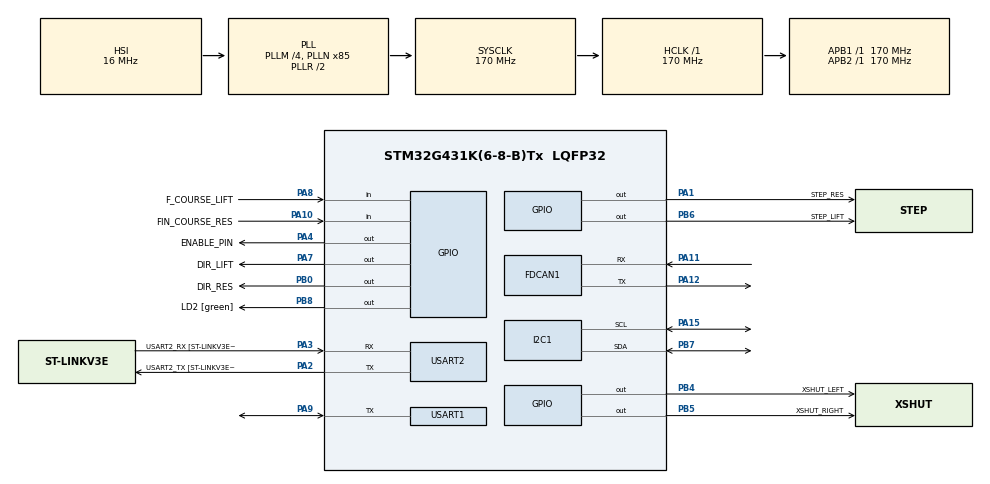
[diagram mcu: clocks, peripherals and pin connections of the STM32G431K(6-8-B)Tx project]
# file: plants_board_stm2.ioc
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FDCAN1.AutoRetransmission=ENABLE
FDCAN1.CalculateBaudRateNominal=999999
FDCAN1.CalculateTimeBitNominal=1000
FDCAN1.CalculateTimeQuantumNominal=58.82352941176471
FDCAN1.DataPrescaler=10
FDCAN1.DataTimeSeg1=14
FDCAN1.DataTimeSeg2=2
FDCAN1.NominalPrescaler=10
FDCAN1.NominalTimeSeg1=14
I2C1.Timing=0x30A0A7FB
Mcu.Family=STM32G4
Mcu.Name=STM32G431K(6-8-B)Tx
Mcu.Package=LQFP32
NVIC.FDCAN1_IT0_IRQn=true\:0\:0\:false\:false\:true\:true\:true\:true
NVIC.PriorityGroup=NVIC_PRIORITYGROUP_4
NVIC.TIM2_IRQn=true\:0\:0\:false\:false\:true\:true\:true\:true
PA1.GPIO_Label=STEP_RES
PA1.Signal=GPIO_Output
PA10.GPIO_Label=FIN_COURSE_RES
PA10.GPIO_PuPd=GPIO_PULLUP
PA10.Signal=GPIO_Input
PA11.Mode=FDCAN_Activate
PA11.Signal=FDCAN1_RX
PA12.Mode=FDCAN_Activate
PA12.Signal=FDCAN1_TX
PA13.GPIO_Label=T_SWDIO
PA13.Mode=Serial_Wire
PA13.Signal=SYS_JTMS-SWDIO
PA14.GPIO_Label=T_SWCLK
PA14.Mode=Serial_Wire
PA14.Signal=SYS_JTCK-SWCLK
PA15.Mode=I2C
PA15.Signal=I2C1_SCL
PA2.GPIO_Label=USART2_TX [ST-LINKV3E_VCP_RX]
PA2.Mode=Asynchronous
PA2.Signal=USART2_TX
PA3.GPIO_Label=USART2_RX [ST-LINKV3E_VCP_TX]
PA3.Mode=Asynchronous
PA3.Signal=USART2_RX
PA4.GPIO_Label=ENABLE_PIN
PA4.Signal=GPIO_Output
PA7.GPIO_Label=DIR_LIFT
PA7.Signal=GPIO_Output
PA8.GPIO_Label=F_COURSE_LIFT
PA8.GPIO_PuPd=GPIO_PULLUP
PA8.Signal=GPIO_Input
PA9.GPIO_Speed=GPIO_SPEED_FREQ_VERY_HIGH
PA9.Mode=Half_duplex(single_wire_mode)
PA9.Signal=USART1_TX
PB0.GPIO_Label=DIR_RES
PB0.Signal=GPIO_Output
PB3.GPIO_Label=T_SWO
PB3.Signal=SYS_JTDO-SWO
PB4.GPIO_Label=XSHUT_LEFT
PB4.Signal=GPIO_Output
PB5.GPIO_Label=XSHUT_RIGHT
PB5.Signal=GPIO_Output
PB6.GPIO_Label=STEP_LIFT
PB6.Signal=GPIO_Output
PB7.Mode=I2C
PB7.Signal=I2C1_SDA
PB8-BOOT0.GPIO_Label=LD2 [green]
PB8-BOOT0.Signal=GPIO_Output
ProjectManager.HeapSize=0x200
ProjectManager.StackSize=0x400
ProjectManager.TargetToolchain=STM32CubeIDE
RCC.ADC12Freq_Value=170000000
RCC.AHBFreq_Value=170000000
RCC.APB1Freq_Value=170000000
RCC.APB1TimFreq_Value=170000000
RCC.APB2Freq_Value=170000000
RCC.APB2TimFreq_Value=170000000
RCC.CortexFreq_Value=170000000
RCC.EXTERNAL_CLOCK_VALUE=12288000
RCC.HCLKFreq_Value=170000000
RCC.HSE_VALUE=8000000
RCC.HSI48_VALUE=48000000
RCC.HSI_VALUE=16000000
RCC.LSE_VALUE=32768
RCC.PLLM=RCC_PLLM_DIV4
RCC.PLLN=85
RCC.SYSCLKFreq_VALUE=170000000
RCC.SYSCLKSource=RCC_SYSCLKSOURCE_PLLCLK
RCC.USBFreq_Value=170000000
RCC.VCOOutputFreq_Value=340000000
TIM2.PeriodNoDither=1000000
TIM2.Prescaler=16
USART1.BaudRate=1000000
USART1.FIFOMode=FIFOMODE_ENABLE
USART1.VirtualMode-Half_duplex(single_wire_mode)=VM_ASYNC
USART2.VirtualMode-Asynchronous=VM_ASYNC
USART2.WordLength=WORDLENGTH_8B
VP_SYS_VS_DBSignals.Mode=DisableDeadBatterySignals
VP_TIM2_VS_ClockSourceINT.Mode=Internal
board=NUCLEO-G431KB

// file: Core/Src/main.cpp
/* USER CODE BEGIN Header */
/**
  ******************************************************************************
  * @file           : main.c
  * @brief          : Main program body
  ******************************************************************************
  * @attention
  *
  * Copyright (c) 2024 STMicroelectronics.
  * All rights reserved.
  *
  * This software is licensed under terms that can be found in the LICENSE file
  * in the root directory of this software component.
  * If no LICENSE file comes with this software, it is provided AS-IS.
  *
  ******************************************************************************
  */
/* USER CODE END Header */
#include "main.h"

/* USER CODE BEGIN Includes */
#include "SCServo.h"
#include "Stepper.hpp"
#include "LaserSensor.hpp"

#include "MessageRecomposer.h"
#include "ChampiCan.h"
#include "ChampiState.h"

#include <pb_encode.h>
#include <pb_decode.h>
#include "msgs_can.pb.h"

#include <stdlib.h>
#include <string.h>
#include "stdio.h"
#include <vector>
/* USER CODE END Includes */

FDCAN_HandleTypeDef hfdcan1;

I2C_HandleTypeDef hi2c1;

TIM_HandleTypeDef htim2;

UART_HandleTypeDef huart1;
UART_HandleTypeDef huart2;

void SystemClock_Config(void);
static void MX_GPIO_Init(void);
static void MX_USART2_UART_Init(void);
static void MX_USART1_UART_Init(void);
static void MX_FDCAN1_Init(void);
static void MX_I2C1_Init(void);
static void MX_TIM2_Init(void);
/* USER CODE BEGIN PFP */

void grabber_extend();
void grabber_retract(bool block=true);
void lift_go_down();
void lift_go_up();
void lift_go_middle();
void hopper_close(int side);
void hopper_open(int side);
bool hopper_wait_and_close_spin_once(int side);
void reservoir_initialize_and_test();
void lift_initialize_and_test();
void grabber_initialize_and_test();
void hoppers_initialize_and_test();
int setup_lasers();
void on_receive_action(const std::string& proto_msg);
void reservoir_rotate(bool keep_speed);
void reservoir_rotate(int n_slots);

void close_fildefer();
void hide_fildefer();
void fildefer_initialize();

void push_plant();
void retract_servo_plant();
void open_circle_plant();
void close_circle_plant();
void pusher_and_circle_initialize();
void push_one_plant_out();
void reservoir_align_with_output();
void reservoir_realign_back();

void request_store_plants();
void request_stop_storing();
void request_plant_out();

/* USER CODE END PFP */

/* USER CODE BEGIN 0 */
extern "C"
{
int _write(int file, char *ptr, int len)
{
   for (int DataIdx = 0; DataIdx < len; DataIdx++)
//        ITM_SendChar(*ptr++);
   	HAL_UART_Transmit(&huart2, (uint8_t*)ptr++, 1, HAL_MAX_DELAY);
   return len;
}

}

unsigned long seconds_elapsed = 0;
// TIM2 interrupt callback (reaches ARR every second
void HAL_TIM_PeriodElapsedCallback(TIM_HandleTypeDef *htim)
{
  if (htim->Instance == TIM2) {
    seconds_elapsed++;
  }
}

unsigned long get_time_us() {
  unsigned long time_us = htim2.Instance->CNT;

  return seconds_elapsed * 1000000 + time_us;
}

// ================================================= GENRAL VARIABLES =================================================

ChampiCan champi_can;
MessageRecomposer msg_recomposer_action;

ChampiState champi_state;

msgs_can_ActStatus status_msg = msgs_can_ActStatus_init_zero;

// ================================================== SYSTEM STATE ====================================================

/**
 * @brief Error handler we call when CAN might still work.
 * It blinks the built-in LED at 1Hz AND sends status on CAN bus.
 */
void Error_Handler_CAN_ok() {

  // Blink the built-in LED at 1Hz
  uint32_t last_time = HAL_GetTick();
  while (true) {
    champi_state.spin_once();
    HAL_Delay(10); // 10ms required to match the main loop frequency (for control)

    if (HAL_GetTick() - last_time > 500) {
      last_time = HAL_GetTick();
      HAL_GPIO_TogglePin(LD2_GPIO_Port, LD2_Pin);
    }
  }
}

/**
 * @brief Fonction qui attend que le l'envoi de données sur le CAN fonctionne. Ca envoie un message de test
 * à répétition jusqu'à ce que ça fonctionne.
 * Also blinks the built-in LED at 5 Hz.
 */
void tx_ok_or_reset() {
  uint8_t buff[20] = {0}; // We need a big message to fill the FIFO

  // Send a message to test if the can bus works (at least 1 node up)
  uint32_t ret = champi_can.send_msg(CAN_ID_ACT_TEST, (uint8_t *) buff, 20);

  if(ret==0){
    return;
  }

  // If we get an error, retry doesn't work sometimes. So we reset the stm to try again. Also blink the led 10Hz

  // blink the built-in LED for 1s
  for (int i = 0; i < 10; i++) {
    HAL_GPIO_TogglePin(LD2_GPIO_Port, LD2_Pin);
    HAL_Delay(100);
  }

  // Then reset the stm
  NVIC_SystemReset();

}

// ==================================================== CAN COMMUNICATION ==============================================

/**
  * @brief  Rx FIFO 0 callback.
  * @param  hfdcan: pointer to an FDCAN_HandleTypeDef structure that contains
  *         the configuration information for the specified FDCAN.
  * @param  RxFifo0ITs: indicates which Rx FIFO 0 interrupts are signalled.
  *         This parameter can be any combination of @arg FDCAN_Rx_Fifo0_Interrupts.
  * @retval None
  */
void HAL_FDCAN_RxFifo0Callback(FDCAN_HandleTypeDef *hfdcan, uint32_t RxFifo0ITs) {

    // Attention !! Quand on met un breakpoint dans cette fonction, on ne reçoit plus que 2 messages au lieu du
    // bon nombre.

    if ((RxFifo0ITs & FDCAN_IT_RX_FIFO0_NEW_MESSAGE) != RESET) {
        /* Retrieve Rx messages from RX FIFO0 */
        FDCAN_RxHeaderTypeDef RxHeader;
        uint8_t RxData[8];

        if (HAL_FDCAN_GetRxMessage(hfdcan, FDCAN_RX_FIFO0, &RxHeader, RxData) != HAL_OK) {
            status_msg.status.status = msgs_can_Status_StatusType_ERROR;
            status_msg.status.error = msgs_can_Status_ErrorType_CAN_RX;
            champi_state.report_status(status_msg);
            Error_Handler_CAN_ok();
        }
        /* Handle Interesting messages
         * Pour le moment, on n'utilise pas de mutex ou de choses comme ça, donc il faut faire attention
         * à ne pas modifier trop de variables partagées, et de priviligier la modifcation de variables
         * de 32 bits ou moins (pour que leur modification soit une opération atomique)
         * */

        if (RxHeader.Identifier == CAN_ID_ACT_ACTION) {
            msg_recomposer_action.add_frame(RxData, RxHeader.DataLength);

            if (msg_recomposer_action.check_if_new_full_msg()) {
                std::string proto_msg = msg_recomposer_action.get_full_msg();
                on_receive_action(proto_msg);

            }
        }

      if (RxHeader.Identifier == CAN_ID_ACT_RESET) {
        NVIC_SystemReset();
      }

    }
}

// ------------------------------------------ ON RECEIVE FUNCTIONS -----------------------------------------------

void on_receive_action(const std::string& proto_msg)
{
  // Allocate space for the decoded message.
  msgs_can_ActCmd ret_action = msgs_can_ActCmd_init_zero;
  // Create a stream that reads from the buffer.
  pb_istream_t stream_ret = pb_istream_from_buffer((const unsigned char*)proto_msg.c_str(), proto_msg.size());
  // Now we are ready to decode the message.
  if (!pb_decode(&stream_ret, msgs_can_ActCmd_fields, &ret_action)) {
    // Decoding failed
    status_msg.status.status = msgs_can_Status_StatusType_ERROR;
    status_msg.status.error = msgs_can_Status_ErrorType_PROTO_DECODE;
    champi_state.report_status(status_msg);
    Error_Handler_CAN_ok();
  }

  // Use message

  switch (ret_action.action)
  {
    case msgs_can_ActActions_START_GRAB_PLANTS:
      request_store_plants();
      break;
    case msgs_can_ActActions_STOP_GRAB_PLANTS:
      request_stop_storing();
      break;
    case msgs_can_ActActions_RELEASE_PLANT:
      request_plant_out();
      break;
    default:
      break;
  }
}

// ===================================== DEFINES DISTANCE SENSORS =====================================

#define SENSOR_LEFT_ADDRESS 0x01
#define SENSOR_RIGHT_ADDRESS 0x05
#define SENSOR_LEFT_OFFSET -10
#define SENSOR_RIGHT_OFFSET -8

// ============================================= DEFINES GRABBER =============================================

#define SERVO_GRABBER_ID 8

#define SERVO_GRABBER_POS_RETRACT 280
#define SERVO_GRABBER_POS_EXTEND 1023

// ============================================= DEFINES LIFT =============================================

#define LIFT_POS_UP 4*3200
#define LIFT_POS_MIDDLE 3*3200

#define LIFT_OFFSET_FROM_BUTTON -200

// =========================================== DEFINES RESERVOIR ===========================================

#define RES_OFFSET_FROM_BUTTON 100
#define RES_OFFSET_FOR_OUTPUT 800

// ================================================ DEFINES HOPPERS ====================================================

#define LEFT 0
#define RIGHT 1

std::vector<int> hoppers_ids = {7, 14};
std::vector<int> hoppers_pos_open = {1023, 0};
std::vector<int> hoppers_pos_close = {600, 430};

// =============================================== DEFINES FILDEFER ===============================================

#define FILDEFER_ID 18
#define FILDEFER_POS_CLOSED 450
#define FILDEFER_POS_HIDDEN 200

// =============================================== DEFINES PLANT OUTPUT ===============================================

#define SERVO_PUSH_PLANT_ID 9
#define SERVO_CIRCLE_PLANT_ID 16
#define SERVO_CIRCLE_POS_CLOSE 540
#define SERVO_CIRCLE_POS_OPEN 950
#define SERVO_CIRCLE_POS_OPEN_MORE 1023
#define SERVO_PUSH_POSE_PUSHED 200
#define SERVO_PUSH_POSE_RETRACTED 420

// ================================ DECLARE / INITIALIZE ACTUATORS / SENSORS OBJECTS ===================================

// Distance sensors
auto sensors = std::vector<LaserSensor>({
  LaserSensor(XSHUT_LEFT_GPIO_Port, XSHUT_LEFT_Pin,  SENSOR_LEFT_ADDRESS, SENSOR_LEFT_OFFSET),
  LaserSensor(XSHUT_RIGHT_GPIO_Port, XSHUT_RIGHT_Pin,  SENSOR_RIGHT_ADDRESS, SENSOR_RIGHT_OFFSET)
});

// Steppers
Stepper stepper_lift = Stepper(get_time_us, STEP_LIFT_GPIO_Port, STEP_LIFT_Pin, DIR_LIFT_GPIO_Port, DIR_LIFT_Pin);
Stepper stepper_res = Stepper(get_time_us, STEP_RES_GPIO_Port, STEP_RES_Pin, DIR_RES_GPIO_Port, DIR_RES_Pin);

// Servos
SCServo servos = SCServo(&huart1);

// =============================================== SYSTEM STATE RELATED VARIABLES ======================================

std::vector<int> servo_ids_to_check = {
  SERVO_GRABBER_ID,
  hoppers_ids[LEFT],
  hoppers_ids[RIGHT],
  FILDEFER_ID,
  SERVO_CIRCLE_PLANT_ID,
  SERVO_PUSH_PLANT_ID
};

enum Action {INITIALIZING, FREE, STORING, PUTTING_OUT, FREE_CIRCLE_OUT};

struct SystemState
{
  bool hopper_left_closed = false;
  bool hopper_right_closed = false;
  Action current_action = INITIALIZING;
} system_state;

struct ReservoirState
{
  // array containing the state of each slot (in the clockwise order)
  std::vector<bool> slots = {false, false, false, false, false, false, false, false, false, false, false, false, false, false};
  // head. At initialization, it is pointing to the first slot (which is the left slot of the grabber (seen from front of the robot))
  int head = 0;
  int nb_stored = 0;
} reservoir_state;

void print_reservoir()
{
  // print reservoir state
  printf("\n");
  for (int i = 0; i < reservoir_state.slots.size(); i++)
  {
    printf("%s", reservoir_state.slots[i] ? "1" : "0");

  }
  printf("nb stored: %d\n", reservoir_state.nb_stored);
  printf("head: %d\n", reservoir_state.head);
  printf("\n");
}

void request_store_plants()
{

  printf("Storing requested\n");
  system_state.current_action = STORING;

  // Clear distance sensors buffers (?)
  sensors[LEFT].clear_interrupt();
  sensors[RIGHT].clear_interrupt();
}

void request_stop_storing()
{
  printf("Stop storing requested\n");
  if(system_state.current_action == FREE_CIRCLE_OUT)
  {
    printf("Interpreted as circle close\n");
    close_circle_plant();
  }

  system_state.current_action = FREE;
}

void request_plant_out()
{
  printf("Plant out requested\n");
  system_state.current_action = PUTTING_OUT;
}

// ================================================ DIAGNOSTIC FUNCTIONS ===============================================

int ping_servos()
{
  int res = 0;
  for(int i = 0; i < servo_ids_to_check.size(); i++)
  {
    int id = servo_ids_to_check[i];
    int pos = servos.ReadPos(id);

    if(pos == -1)
    {
      printf("Error reading servo %d\n", id);
      res = -1;
    }
    else
    {
      printf("Servo %d was ping successfully\n", id);
    }
  }
  return res;
}

// ================================ SETUP / INITIALIZE POSES (SENSORS, ACTUATORS) ======================================

/**
 * @brief Setup the distance sensors
 *
 * @return int 0 if all sensors are setup correctly, otherwise the error code
 */
int setup_lasers()
{
  /* Toggle Xshut pin to reset the sensors so that their addresses can be set individually*/
  HAL_GPIO_WritePin(XSHUT_LEFT_GPIO_Port, XSHUT_LEFT_Pin, GPIO_PIN_RESET);
  HAL_GPIO_WritePin(XSHUT_RIGHT_GPIO_Port, XSHUT_RIGHT_Pin, GPIO_PIN_RESET);

  /* Setup the first laser sensor */
  int status = sensors[LEFT].setup();

  if(status)
  {
    return status;
  }

  /* Setup the second laser sensor */
  status = sensors[RIGHT].setup();

  if(status)
  {
    return status;
  }

  // AFTER ALL SETUPS WE PULL TO HIGH THE SHUTPINS to enable the sensors
  HAL_GPIO_WritePin(XSHUT_LEFT_GPIO_Port, XSHUT_LEFT_Pin, GPIO_PIN_SET);
  HAL_GPIO_WritePin(XSHUT_RIGHT_GPIO_Port, XSHUT_RIGHT_Pin, GPIO_PIN_SET);

  return 0;
}

void reservoir_initialize_and_test()
{
  reservoir_rotate(2);
}

void lift_initialize_and_test()
{
  // Initialization steps:
  // 1. If button pressed, move up a little
  // 2. Move down until button is pressed

  stepper_lift.set_pos(0);

  // 1
  if(HAL_GPIO_ReadPin(F_COURSE_LIFT_GPIO_Port, F_COURSE_LIFT_Pin) == GPIO_PIN_RESET)
  {
	printf("Lift Goes Up...\n");
    stepper_lift.set_goal(3200);
    while(!stepper_lift.is_stopped())
    {
      stepper_lift.spin_once();
    }
  }

  printf("Lift Goes Down...\n");

  // 2
  lift_go_down();
}

void grabber_initialize_and_test()
{
  grabber_extend();
  HAL_Delay(1000);
  grabber_retract();
  HAL_Delay(1000);
}

/**
 * Close then open the hoppers
 *
 */
void hoppers_initialize_and_test()
{
  hopper_close(LEFT);
  hopper_close(RIGHT);

  HAL_Delay(1000); // Because hoppers functions are not blocking

  hopper_open(LEFT);
  hopper_open(RIGHT);
}

// ============================================ ACTIONS FUNCTIONS ===========================================

// ----------------------------------------- LIFT -----------------------------------------

void lift_go_down()
{
  stepper_lift.set_goal(-100000);
  // Turn untill the button is pressed (reservoir in position)
  while(HAL_GPIO_ReadPin(F_COURSE_LIFT_GPIO_Port, F_COURSE_LIFT_Pin) == GPIO_PIN_SET)
  {
    stepper_lift.spin_once();
  }

  // Turn (offset)
  stepper_lift.set_pos(0);
  stepper_lift.set_goal(LIFT_OFFSET_FROM_BUTTON, true);
  while(!stepper_lift.is_stopped())
  {
    stepper_lift.spin_once();
  }

  stepper_lift.set_pos(0);
}

void lift_go_up()
{
  stepper_lift.set_goal(LIFT_POS_UP);
  while(!stepper_lift.is_stopped())
  {
    stepper_lift.spin_once();
  }
}

void lift_go_middle()
{
  stepper_lift.set_goal(LIFT_POS_MIDDLE);
  while(!stepper_lift.is_stopped())
  {
    stepper_lift.spin_once();
  }
}

// ----------------------------------------- GRABBER -----------------------------------------

void grabber_extend()
{
  servos.WritePos(SERVO_GRABBER_ID ,SERVO_GRABBER_POS_EXTEND, 1000);
  HAL_Delay(1000);
}

void grabber_retract(bool block)
{
  servos.WritePos(SERVO_GRABBER_ID ,SERVO_GRABBER_POS_RETRACT, 500);
  if(block) HAL_Delay(500);
}

// ----------------------------------------- HOPPERS -----------------------------------------

void hopper_close(int side)
{
  servos.WritePos(hoppers_ids[side], hoppers_pos_close[side], 1000);
}

void hopper_open(int side)
{
  servos.WritePos(hoppers_ids[side], hoppers_pos_open[side], 500);
}

// ---------------------------------------- RESERVOIR ----------------------------------------

void reservoir_rotate(bool keep_speed=false)
{
  // Set big goal. When button is pressed, reset current pos to 0 and stop the motor
  stepper_res.set_pos(0);
  stepper_res.set_goal(100000, keep_speed);

  // Turn untill the button is released
  while(HAL_GPIO_ReadPin(FIN_COURSE_RES_GPIO_Port, FIN_COURSE_RES_Pin) == GPIO_PIN_RESET)
  {
    stepper_res.spin_once();
  }

  // Debouncing: spin for 200ms
  unsigned long start = HAL_GetTick();
  while(HAL_GetTick() - start < 200)
  {
    stepper_res.spin_once();
  }

  // Turn untill the button is pressed (reservoir in position)
  while(HAL_GPIO_ReadPin(FIN_COURSE_RES_GPIO_Port, FIN_COURSE_RES_Pin) == GPIO_PIN_SET)
  {
    stepper_res.spin_once();
  }

  // Turn (offset)
  stepper_res.set_pos(0);
  stepper_res.set_goal(RES_OFFSET_FROM_BUTTON, true);
  while(!stepper_res.is_stopped())
  {
    stepper_res.spin_once();
  }

}

void reservoir_align_with_output()
{
  // Turn (offset)
  stepper_res.set_pos(0);
  stepper_res.set_goal(RES_OFFSET_FOR_OUTPUT);
  while(!stepper_res.is_stopped())
  {
    stepper_res.spin_once();
  }
}

void reservoir_realign_back()
{
  // Turn (offset)
  stepper_res.set_pos(0);
  stepper_res.set_goal(-RES_OFFSET_FOR_OUTPUT);
  while(!stepper_res.is_stopped())
  {
    stepper_res.spin_once();
  }
}

void reservoir_rotate(int n_slots)
{
  for(int i = 0; i < n_slots; i++)
  {
    reservoir_rotate(i>0);
  }
}

void close_fildefer()
{
  servos.WritePos(FILDEFER_ID, FILDEFER_POS_CLOSED, 1000);
}

void hide_fildefer()
{
  servos.WritePos(FILDEFER_ID, FILDEFER_POS_HIDDEN, 1000);
}

void fildefer_initialize()
{
  // servos.WritePos(FILDEFER_ID, FILDEFER_POS_HIDDEN, 1000);
  hide_fildefer();
  HAL_Delay(1000);
  close_fildefer();
  HAL_Delay(1000);
  hide_fildefer();
  HAL_Delay(1000);
}

void push_plant()
{
  servos.WritePos(SERVO_PUSH_PLANT_ID, SERVO_PUSH_POSE_PUSHED, 500);
}
void retract_servo_plant()
{
  servos.WritePos(SERVO_PUSH_PLANT_ID, SERVO_PUSH_POSE_RETRACTED, 200);
}

void open_circle_plant()
{
  servos.WritePos(SERVO_CIRCLE_PLANT_ID, SERVO_CIRCLE_POS_OPEN, 200);
}
void open_circle_plant_more()
{
  servos.WritePos(SERVO_CIRCLE_PLANT_ID, SERVO_CIRCLE_POS_OPEN_MORE, 200);
}
void close_circle_plant()
{
  servos.WritePos(SERVO_CIRCLE_PLANT_ID, SERVO_CIRCLE_POS_CLOSE, 200);
}

void pusher_and_circle_initialize()
{
  // init circle
  servos.WritePos(SERVO_CIRCLE_PLANT_ID, SERVO_CIRCLE_POS_CLOSE+50, 200);
  HAL_Delay(200);
  close_circle_plant();

  //init pusher
  retract_servo_plant();
  HAL_Delay(500);
  servos.WritePos(SERVO_PUSH_PLANT_ID, SERVO_PUSH_POSE_RETRACTED-50, 200);
  HAL_Delay(200);
  retract_servo_plant();
  HAL_Delay(500);
}

int search_next_plant_to_push()
{
  // the output is aligned with the head + 5
  // we search in reverse order till we find a plant
  for (int i = 0; i < reservoir_state.slots.size(); i++)
  {
    int index = (reservoir_state.head + 5 - i) % reservoir_state.slots.size();
    if (index < 0)
    {
      index += reservoir_state.slots.size();
    }

    if (reservoir_state.slots[index])
    {
      return i;
    }
  }
  return -1;
}

void push_one_plant_out()
{
  // search for a plant to push
  int nb_slot_till_next_plant = search_next_plant_to_push();
  printf("\n\n");
  printf("next plant to push: %d\n", nb_slot_till_next_plant);
  if (nb_slot_till_next_plant == -1)
  {
    system_state.current_action = FREE;
    return;
  }
  // HAL_Delay(2000);
  // rotate the reservoir to the right position
  printf("rotate the reservoir to the right position\n");
  reservoir_rotate(nb_slot_till_next_plant );
  // HAL_Delay(2000);

  // rotate the reservoir by the right offset
  printf("align reservoir \n");
  reservoir_align_with_output();
  // HAL_Delay(2000);
  printf("open circle \n");
  open_circle_plant();
  printf("push plant \n");
  push_plant();
  HAL_Delay(500);
  printf("retract servo plant \n");
  retract_servo_plant();
  printf("retract circle\n");
  open_circle_plant_more();
  HAL_Delay(200);
  reservoir_realign_back();

  // update reservoir state at the head + 5
  int slot = reservoir_state.head+5-nb_slot_till_next_plant;
  if (slot <0) {
    slot += reservoir_state.slots.size();
  } else {
    slot = slot % reservoir_state.slots.size();
  }
  printf("on veut enlever à %d \n",slot);
  reservoir_state.slots[(slot)] = false;
  reservoir_state.nb_stored--;
  reservoir_state.head = reservoir_state.head - nb_slot_till_next_plant;
  if (reservoir_state.head < 0)
  {
    reservoir_state.head += reservoir_state.slots.size();
  }
  else
  {
    reservoir_state.head = reservoir_state.head % reservoir_state.slots.size();
  }
  print_reservoir();
}

// =============================================== HIGH LEVEL ACTIONS =================================================

bool hopper_wait_and_close_spin_once(int side)
{
  // Check if distance < 50mm for left plant
  int dist = sensors[side].get_dist_mm();
  if(dist < 70)
  {
    // Close the hopper
    hopper_close(side);
    return true;
  }
  return false;
}

// /!\ DELAY IN THIS FUNCTION
void store_plants_spin_once()
{

  if(system_state.current_action != STORING)
  {
    return;
  }

  if(!system_state.hopper_left_closed)
  {
    system_state.hopper_left_closed = hopper_wait_and_close_spin_once(LEFT);
  }

  if(!system_state.hopper_right_closed)
  {
    system_state.hopper_right_closed = hopper_wait_and_close_spin_once(RIGHT);
  }

  if(system_state.hopper_left_closed && system_state.hopper_right_closed)
  {
    HAL_Delay(1500); // Because hoppers functions are not blocking // TODO ADD NON BLOCKING DELAY
    hide_fildefer();
    lift_go_up();
    grabber_extend();
    HAL_Delay(500);
    lift_go_middle();
    close_fildefer();
    grabber_retract(false);
    lift_go_down();
    // HAL_Delay(2000);
    hopper_open(LEFT);
    hopper_open(RIGHT);
    // HAL_Delay(1000);
    hide_fildefer();
    system_state.hopper_left_closed = false;
    system_state.hopper_right_closed = false;

    // Clear distance sensors buffers (?)
    sensors[LEFT].clear_interrupt();
    sensors[RIGHT].clear_interrupt();

    int nb_to_turn = 3;
    reservoir_rotate(nb_to_turn);
    print_reservoir();

    // fill the reservoir state. 2 have to be set to true, and one skipped
    reservoir_state.slots[reservoir_state.head] = true;
    reservoir_state.slots[(reservoir_state.head + 1) % reservoir_state.slots.size()] = true;
    reservoir_state.nb_stored += 2;

    reservoir_state.head = reservoir_state.head - nb_to_turn;
    printf("head:%d \n", reservoir_state.head);
    if (reservoir_state.head < 0)
    {
      printf("head += %d \n", reservoir_state.slots.size());
      reservoir_state.head += reservoir_state.slots.size();
    }
    else
    {
      reservoir_state.head = reservoir_state.head % reservoir_state.slots.size();
    }
    print_reservoir();
  }
}

void setup()
{

  printf("Setup Begins...\n");

  // Initialize the status message / set has_... fields to true
  status_msg = msgs_can_ActStatus_init_zero;
  status_msg.has_status = true;
  status_msg.status.has_status = true;
  status_msg.status.has_error = true;
  status_msg.has_plant_count = true;
  status_msg.has_action = true;

  status_msg.status.status = msgs_can_Status_StatusType_INIT;
  status_msg.status.error = msgs_can_Status_ErrorType_NONE;
  status_msg.action = msgs_can_ActActions_INITIALIZING;
  status_msg.plant_count = 0;

  // Init Steppers (and start the timer for the time_us function)
  HAL_TIM_Base_Start_IT(&htim2);
  stepper_lift.set_speed(5000);

  printf("Setup lasers...\n");

  // Initialize the sensors
  if(setup_lasers() != 0)
  {
    printf("Error setting up the sensors\n");
    Error_Handler();
  }

  printf("Setup servos...\n");

  if(ping_servos() != 0)
  {
    printf("Error pinging servos\n");
    Error_Handler();
  }

  champi_can = ChampiCan(&hfdcan1);

  if (champi_can.start() != 0) {
    // TODO: On n'a jamais rencontré cette erreur.
    Error_Handler();
  }

  // This is required: when the Raspberry Pi starts up, transmit CAN frames returns error.

  tx_ok_or_reset();

  printf("Setup CAN Done.\n");

  champi_state = ChampiState(&champi_can, 500);

  status_msg.status.status = msgs_can_Status_StatusType_OK;
  champi_state.report_status(status_msg);

  printf("Begin actuators initialization...\n");

  // Initialize / move actuators
  printf("Test pusher and circle...\n");
  pusher_and_circle_initialize();
  printf("Test fildefer...\n");
  fildefer_initialize();
  printf("Test reservoir...\n");
  reservoir_initialize_and_test();
  printf("Test hoppers...\n");
  hoppers_initialize_and_test();
  HAL_Delay(200);
  printf("Test grabber...\n");
  grabber_retract();
  printf("Test lift...\n");
  lift_initialize_and_test();

  printf("Initialization Done\n");

  // Switch led ON to indicate that we're running
  HAL_GPIO_WritePin(LD2_GPIO_Port, LD2_Pin, GPIO_PIN_SET);

  status_msg.action = msgs_can_ActActions_FREE;
  champi_state.report_status(status_msg);

  print_reservoir();
}

void loop()
{
  // Print distances
  // printf("Left: %d mm, Right: %d mm\n", sensors[LEFT].get_dist_mm(), sensors[RIGHT].get_dist_mm());

  // Update champi_state

  if(system_state.current_action==FREE)
  {
    status_msg.action = msgs_can_ActActions_FREE;
  }
  else if(system_state.current_action==STORING)
  {
    status_msg.action = msgs_can_ActActions_START_GRAB_PLANTS;
  }
  else if(system_state.current_action==PUTTING_OUT)
  {
    status_msg.action = msgs_can_ActActions_RELEASE_PLANT;
  }

  status_msg.plant_count = reservoir_state.nb_stored;

  champi_state.report_status(status_msg);

  champi_state.spin_once(); // Send status on CAN bus

  store_plants_spin_once();

  if (system_state.current_action==PUTTING_OUT)
  {

    push_one_plant_out();
    system_state.current_action = FREE_CIRCLE_OUT;
  }

}

/* USER CODE END 0 */

int main(void)
{

  /* MCU Configuration--------------------------------------------------------*/

  /* Reset of all peripherals, Initializes the Flash interface and the Systick. */
  HAL_Init();

  /* Configure the system clock */
  SystemClock_Config();

  /* Initialize all configured peripherals */
  MX_GPIO_Init();
  MX_USART2_UART_Init();
  MX_USART1_UART_Init();
  MX_FDCAN1_Init();
  MX_I2C1_Init();
  MX_TIM2_Init();
  /* USER CODE BEGIN 2 */

  setup();

  /* USER CODE END 2 */

  /* Infinite loop */
  /* USER CODE BEGIN WHILE */

    while (1)
    {

      loop();

    /* USER CODE END WHILE */

    }
}

void SystemClock_Config(void)
{
  RCC_OscInitTypeDef RCC_OscInitStruct = {0};
  RCC_ClkInitTypeDef RCC_ClkInitStruct = {0};

  /** Configure the main internal regulator output voltage
  */
  HAL_PWREx_ControlVoltageScaling(PWR_REGULATOR_VOLTAGE_SCALE1_BOOST);

  /** Initializes the RCC Oscillators according to the specified parameters
  * in the RCC_OscInitTypeDef structure.
  */
  RCC_OscInitStruct.OscillatorType = RCC_OSCILLATORTYPE_HSI;
  RCC_OscInitStruct.HSIState = RCC_HSI_ON;
  RCC_OscInitStruct.HSICalibrationValue = RCC_HSICALIBRATION_DEFAULT;
  RCC_OscInitStruct.PLL.PLLState = RCC_PLL_ON;
  RCC_OscInitStruct.PLL.PLLSource = RCC_PLLSOURCE_HSI;
  RCC_OscInitStruct.PLL.PLLM = RCC_PLLM_DIV4;
  RCC_OscInitStruct.PLL.PLLN = 85;
  RCC_OscInitStruct.PLL.PLLP = RCC_PLLP_DIV2;
  RCC_OscInitStruct.PLL.PLLQ = RCC_PLLQ_DIV2;
  RCC_OscInitStruct.PLL.PLLR = RCC_PLLR_DIV2;
  if (HAL_RCC_OscConfig(&RCC_OscInitStruct) != HAL_OK)
  {
    Error_Handler();
  }

  /** Initializes the CPU, AHB and APB buses clocks
  */
  RCC_ClkInitStruct.ClockType = RCC_CLOCKTYPE_HCLK|RCC_CLOCKTYPE_SYSCLK
                              |RCC_CLOCKTYPE_PCLK1|RCC_CLOCKTYPE_PCLK2;
  RCC_ClkInitStruct.SYSCLKSource = RCC_SYSCLKSOURCE_PLLCLK;
  RCC_ClkInitStruct.AHBCLKDivider = RCC_SYSCLK_DIV1;
  RCC_ClkInitStruct.APB1CLKDivider = RCC_HCLK_DIV1;
  RCC_ClkInitStruct.APB2CLKDivider = RCC_HCLK_DIV1;

  if (HAL_RCC_ClockConfig(&RCC_ClkInitStruct, FLASH_LATENCY_4) != HAL_OK)
  {
    Error_Handler();
  }
}

static void MX_FDCAN1_Init(void)
{

  hfdcan1.Instance = FDCAN1;
  hfdcan1.Init.ClockDivider = FDCAN_CLOCK_DIV1;
  hfdcan1.Init.FrameFormat = FDCAN_FRAME_CLASSIC;
  hfdcan1.Init.Mode = FDCAN_MODE_NORMAL;
  hfdcan1.Init.AutoRetransmission = ENABLE;
  hfdcan1.Init.TransmitPause = DISABLE;
  hfdcan1.Init.ProtocolException = DISABLE;
  hfdcan1.Init.NominalPrescaler = 10;
  hfdcan1.Init.NominalSyncJumpWidth = 1;
  hfdcan1.Init.NominalTimeSeg1 = 14;
  hfdcan1.Init.NominalTimeSeg2 = 2;
  hfdcan1.Init.DataPrescaler = 10;
  hfdcan1.Init.DataSyncJumpWidth = 1;
  hfdcan1.Init.DataTimeSeg1 = 14;
  hfdcan1.Init.DataTimeSeg2 = 2;
  hfdcan1.Init.StdFiltersNbr = 0;
  hfdcan1.Init.ExtFiltersNbr = 0;
  hfdcan1.Init.TxFifoQueueMode = FDCAN_TX_FIFO_OPERATION;
  if (HAL_FDCAN_Init(&hfdcan1) != HAL_OK)
  {
    Error_Handler();
  }

}

static void MX_I2C1_Init(void)
{

  hi2c1.Instance = I2C1;
  hi2c1.Init.Timing = 0x30A0A7FB;
  hi2c1.Init.OwnAddress1 = 0;
  hi2c1.Init.AddressingMode = I2C_ADDRESSINGMODE_7BIT;
  hi2c1.Init.DualAddressMode = I2C_DUALADDRESS_DISABLE;
  hi2c1.Init.OwnAddress2 = 0;
  hi2c1.Init.OwnAddress2Masks = I2C_OA2_NOMASK;
  hi2c1.Init.GeneralCallMode = I2C_GENERALCALL_DISABLE;
  hi2c1.Init.NoStretchMode = I2C_NOSTRETCH_DISABLE;
  if (HAL_I2C_Init(&hi2c1) != HAL_OK)
  {
    Error_Handler();
  }

  /** Configure Analogue filter
  */
  if (HAL_I2CEx_ConfigAnalogFilter(&hi2c1, I2C_ANALOGFILTER_ENABLE) != HAL_OK)
  {
    Error_Handler();
  }

  /** Configure Digital filter
  */
  if (HAL_I2CEx_ConfigDigitalFilter(&hi2c1, 0) != HAL_OK)
  {
    Error_Handler();
  }

}

static void MX_TIM2_Init(void)
{

  TIM_ClockConfigTypeDef sClockSourceConfig = {0};
  TIM_MasterConfigTypeDef sMasterConfig = {0};

  htim2.Instance = TIM2;
  htim2.Init.Prescaler = 16;
  htim2.Init.CounterMode = TIM_COUNTERMODE_UP;
  htim2.Init.Period = 1000000;
  htim2.Init.ClockDivision = TIM_CLOCKDIVISION_DIV1;
  htim2.Init.AutoReloadPreload = TIM_AUTORELOAD_PRELOAD_DISABLE;
  if (HAL_TIM_Base_Init(&htim2) != HAL_OK)
  {
    Error_Handler();
  }
  sClockSourceConfig.ClockSource = TIM_CLOCKSOURCE_INTERNAL;
  if (HAL_TIM_ConfigClockSource(&htim2, &sClockSourceConfig) != HAL_OK)
  {
    Error_Handler();
  }
  sMasterConfig.MasterOutputTrigger = TIM_TRGO_RESET;
  sMasterConfig.MasterSlaveMode = TIM_MASTERSLAVEMODE_DISABLE;
  if (HAL_TIMEx_MasterConfigSynchronization(&htim2, &sMasterConfig) != HAL_OK)
  {
    Error_Handler();
  }

}

static void MX_USART1_UART_Init(void)
{

  huart1.Instance = USART1;
  huart1.Init.BaudRate = 1000000;
  huart1.Init.WordLength = UART_WORDLENGTH_8B;
  huart1.Init.StopBits = UART_STOPBITS_1;
  huart1.Init.Parity = UART_PARITY_NONE;
  huart1.Init.Mode = UART_MODE_TX_RX;
  huart1.Init.HwFlowCtl = UART_HWCONTROL_NONE;
  huart1.Init.OverSampling = UART_OVERSAMPLING_16;
  huart1.Init.OneBitSampling = UART_ONE_BIT_SAMPLE_DISABLE;
  huart1.Init.ClockPrescaler = UART_PRESCALER_DIV1;
  huart1.AdvancedInit.AdvFeatureInit = UART_ADVFEATURE_NO_INIT;
  if (HAL_HalfDuplex_Init(&huart1) != HAL_OK)
  {
    Error_Handler();
  }
  if (HAL_UARTEx_SetTxFifoThreshold(&huart1, UART_TXFIFO_THRESHOLD_1_8) != HAL_OK)
  {
    Error_Handler();
  }
  if (HAL_UARTEx_SetRxFifoThreshold(&huart1, UART_RXFIFO_THRESHOLD_1_8) != HAL_OK)
  {
    Error_Handler();
  }
  if (HAL_UARTEx_EnableFifoMode(&huart1) != HAL_OK)
  {
    Error_Handler();
  }

}

static void MX_USART2_UART_Init(void)
{

  huart2.Instance = USART2;
  huart2.Init.BaudRate = 115200;
  huart2.Init.WordLength = UART_WORDLENGTH_8B;
  huart2.Init.StopBits = UART_STOPBITS_1;
  huart2.Init.Parity = UART_PARITY_NONE;
  huart2.Init.Mode = UART_MODE_TX_RX;
  huart2.Init.HwFlowCtl = UART_HWCONTROL_NONE;
  huart2.Init.OverSampling = UART_OVERSAMPLING_16;
  huart2.Init.OneBitSampling = UART_ONE_BIT_SAMPLE_DISABLE;
  huart2.Init.ClockPrescaler = UART_PRESCALER_DIV1;
  huart2.AdvancedInit.AdvFeatureInit = UART_ADVFEATURE_NO_INIT;
  if (HAL_UART_Init(&huart2) != HAL_OK)
  {
    Error_Handler();
  }
  if (HAL_UARTEx_SetTxFifoThreshold(&huart2, UART_TXFIFO_THRESHOLD_1_8) != HAL_OK)
  {
    Error_Handler();
  }
  if (HAL_UARTEx_SetRxFifoThreshold(&huart2, UART_RXFIFO_THRESHOLD_1_8) != HAL_OK)
  {
    Error_Handler();
  }
  if (HAL_UARTEx_DisableFifoMode(&huart2) != HAL_OK)
  {
    Error_Handler();
  }

}

static void MX_GPIO_Init(void)
{
  GPIO_InitTypeDef GPIO_InitStruct = {0};

  /* GPIO Ports Clock Enable */
  __HAL_RCC_GPIOA_CLK_ENABLE();
  __HAL_RCC_GPIOB_CLK_ENABLE();

  /*Configure GPIO pin Output Level */
  HAL_GPIO_WritePin(GPIOA, STEP_RES_Pin|ENABLE_PIN_Pin|DIR_LIFT_Pin, GPIO_PIN_RESET);

  /*Configure GPIO pin Output Level */
  HAL_GPIO_WritePin(GPIOB, DIR_RES_Pin|XSHUT_LEFT_Pin|XSHUT_RIGHT_Pin|STEP_LIFT_Pin
                          |LD2_Pin, GPIO_PIN_RESET);

  /*Configure GPIO pins : STEP_RES_Pin ENABLE_PIN_Pin DIR_LIFT_Pin */
  GPIO_InitStruct.Pin = STEP_RES_Pin|ENABLE_PIN_Pin|DIR_LIFT_Pin;
  GPIO_InitStruct.Mode = GPIO_MODE_OUTPUT_PP;
  GPIO_InitStruct.Pull = GPIO_NOPULL;
  GPIO_InitStruct.Speed = GPIO_SPEED_FREQ_LOW;
  HAL_GPIO_Init(GPIOA, &GPIO_InitStruct);

  /*Configure GPIO pins : DIR_RES_Pin XSHUT_LEFT_Pin XSHUT_RIGHT_Pin STEP_LIFT_Pin
                           LD2_Pin */
  GPIO_InitStruct.Pin = DIR_RES_Pin|XSHUT_LEFT_Pin|XSHUT_RIGHT_Pin|STEP_LIFT_Pin
                          |LD2_Pin;
  GPIO_InitStruct.Mode = GPIO_MODE_OUTPUT_PP;
  GPIO_InitStruct.Pull = GPIO_NOPULL;
  GPIO_InitStruct.Speed = GPIO_SPEED_FREQ_LOW;
  HAL_GPIO_Init(GPIOB, &GPIO_InitStruct);

  /*Configure GPIO pins : F_COURSE_LIFT_Pin FIN_COURSE_RES_Pin */
  GPIO_InitStruct.Pin = F_COURSE_LIFT_Pin|FIN_COURSE_RES_Pin;
  GPIO_InitStruct.Mode = GPIO_MODE_INPUT;
  GPIO_InitStruct.Pull = GPIO_PULLUP;
  HAL_GPIO_Init(GPIOA, &GPIO_InitStruct);

}

void Error_Handler(void)
{
  __disable_irq();
  while (1)
  {
  }
}
